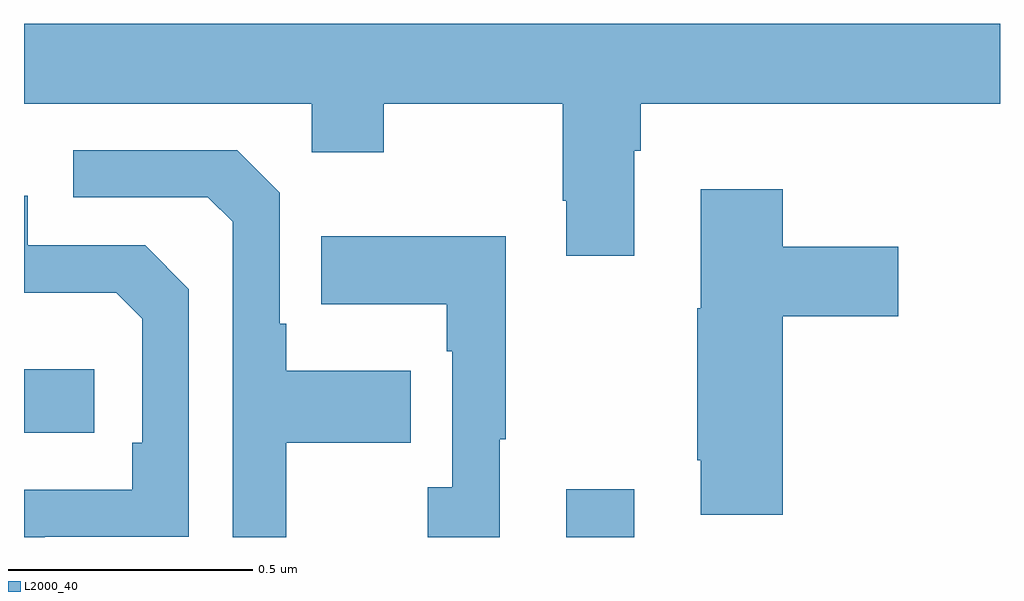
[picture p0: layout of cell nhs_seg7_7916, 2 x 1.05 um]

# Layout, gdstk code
import gdstk
lib = gdstk.Library(unit=1e-6, precision=1e-09)
def R(c, l, rs):  # rectangles x0, y0, x1, y1
    for r in rs: c.add(gdstk.rectangle(r[:2], r[2:], *l))
def P(c, l, *ps):  # polygons
    for p in ps: c.add(gdstk.Polygon(p, *l))
L2000_40 = (2000, 40)

nhs_seg7_7916 = lib.new_cell('nhs_seg7_7916')
R(nhs_seg7_7916, L2000_40, [(218.111,1061,218.251,1061.098), (217,1061.214,217.144,1061.344)])
P(nhs_seg7_7916, L2000_40, [(218.251,1061.792),(218.264,1061.792),(218.264,1061.888),(219,1061.888),(219,1062.052),(217,1062.052),(217,1061.888),(217.59,1061.888),(217.59,1061.789),(217.737,1061.789),(217.737,1061.888),(218.104,1061.888),(218.104,1061.689),(218.111,1061.689),(218.111,1061.577),(218.251,1061.577)],
  [(217.537,1061.194),(217.793,1061.194),(217.793,1061.341),(217.537,1061.341),(217.537,1061.437),(217.524,1061.437),(217.524,1061.706),(217.437,1061.793),(217.101,1061.793),(217.101,1061.697),(217.377,1061.697),(217.428,1061.646),(217.428,1061),(217.537,1061)],
  [(218.555,1061.453),(218.791,1061.453),(218.791,1061.595),(218.555,1061.595),(218.555,1061.713),(218.387,1061.713),(218.387,1061.469),(218.38,1061.469),(218.38,1061.158),(218.387,1061.158),(218.387,1061.046),(218.555,1061.046)],
  [(217.043,1061.001),(217.338,1061.001),(217.338,1061.508),(217.248,1061.598),(217.008,1061.598),(217.008,1061.7),(217,1061.7),(217,1061.501),(217.189,1061.501),(217.242,1061.448),(217.242,1061.194),(217.222,1061.194),(217.222,1061.097),(217,1061.097),(217,1061),(217.043,1061)],
  [(217.975,1061.201),(217.987,1061.201),(217.987,1061.617),(217.609,1061.617),(217.609,1061.477),(217.866,1061.477),(217.866,1061.381),(217.878,1061.381),(217.878,1061.102),(217.827,1061.102),(217.827,1061),(217.975,1061)])

lib.write_gds('nhs_seg7_7916.gds')
